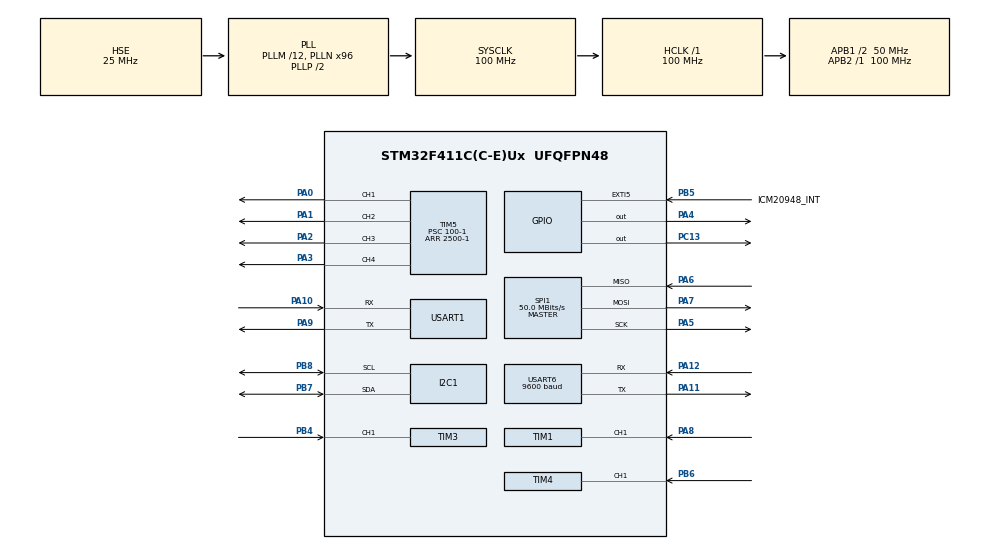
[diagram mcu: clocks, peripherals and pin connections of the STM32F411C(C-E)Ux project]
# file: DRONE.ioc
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Dma.I2C1_RX.0.Direction=DMA_PERIPH_TO_MEMORY
Dma.I2C1_RX.0.FIFOMode=DMA_FIFOMODE_DISABLE
Dma.I2C1_RX.0.Instance=DMA1_Stream0
Dma.I2C1_RX.0.MemDataAlignment=DMA_MDATAALIGN_BYTE
Dma.I2C1_RX.0.MemInc=DMA_MINC_ENABLE
Dma.I2C1_RX.0.Mode=DMA_NORMAL
Dma.I2C1_RX.0.PeriphDataAlignment=DMA_PDATAALIGN_BYTE
Dma.I2C1_RX.0.PeriphInc=DMA_PINC_DISABLE
Dma.I2C1_RX.0.Priority=DMA_PRIORITY_LOW
Dma.Request0=I2C1_RX
I2C1.I2C_Mode=I2C_Fast
Mcu.Family=STM32F4
Mcu.Name=STM32F411C(C-E)Ux
Mcu.Package=UFQFPN48
NVIC.DMA1_Stream0_IRQn=true\:0\:0\:false\:false\:true\:false\:true\:true
NVIC.EXTI9_5_IRQn=true\:0\:0\:false\:false\:true\:true\:true\:true
NVIC.I2C1_ER_IRQn=true\:0\:0\:false\:false\:true\:true\:true\:true
NVIC.I2C1_EV_IRQn=true\:0\:0\:false\:false\:true\:true\:true\:true
NVIC.PriorityGroup=NVIC_PRIORITYGROUP_4
NVIC.TIM1_BRK_TIM9_IRQn=true\:0\:0\:false\:false\:true\:true\:true\:true
NVIC.TIM1_CC_IRQn=true\:0\:0\:false\:false\:true\:true\:true\:true
NVIC.TIM2_IRQn=true\:0\:0\:false\:false\:true\:true\:true\:true
NVIC.TIM3_IRQn=true\:0\:0\:false\:false\:true\:true\:true\:true
NVIC.TIM4_IRQn=true\:0\:0\:false\:false\:true\:true\:true\:true
NVIC.TIM5_IRQn=true\:0\:0\:false\:false\:true\:true\:true\:true
NVIC.USART1_IRQn=true\:0\:0\:false\:false\:true\:true\:true\:true
NVIC.USART6_IRQn=true\:0\:0\:false\:false\:true\:true\:true\:true
PA0-WKUP.Signal=S_TIM5_CH1
PA1.Signal=S_TIM5_CH2
PA10.Mode=Asynchronous
PA10.Signal=USART1_RX
PA11.Mode=Asynchronous
PA11.Signal=USART6_TX
PA12.Mode=Asynchronous
PA12.Signal=USART6_RX
PA13.Mode=Serial_Wire
PA13.Signal=SYS_JTMS-SWDIO
PA14.Mode=Serial_Wire
PA14.Signal=SYS_JTCK-SWCLK
PA2.Signal=S_TIM5_CH3
PA3.Signal=S_TIM5_CH4
PA4.Signal=GPIO_Output
PA5.Mode=Full_Duplex_Master
PA5.Signal=SPI1_SCK
PA6.Mode=Full_Duplex_Master
PA6.Signal=SPI1_MISO
PA7.Mode=Full_Duplex_Master
PA7.Signal=SPI1_MOSI
PA8.Signal=S_TIM1_CH1
PA9.Mode=Asynchronous
PA9.Signal=USART1_TX
PB4.Signal=S_TIM3_CH1
PB5.GPIO_Label=ICM20948_INT
PB5.GPIO_ModeDefaultEXTI=GPIO_MODE_IT_RISING
PB5.GPIO_PuPd=GPIO_PULLDOWN
PB5.Signal=GPXTI5
PB6.Signal=S_TIM4_CH1
PB7.Mode=I2C
PB7.Signal=I2C1_SDA
PB8.Mode=I2C
PB8.Signal=I2C1_SCL
PC13-ANTI_TAMP.Signal=GPIO_Output
PC14-OSC32_IN.Mode=LSE-External-Oscillator
PC14-OSC32_IN.Signal=RCC_OSC32_IN
PC15-OSC32_OUT.Mode=LSE-External-Oscillator
PC15-OSC32_OUT.Signal=RCC_OSC32_OUT
PH0\ -\ OSC_IN.Mode=HSE-External-Oscillator
PH0\ -\ OSC_IN.Signal=RCC_OSC_IN
PH1\ -\ OSC_OUT.Mode=HSE-External-Oscillator
PH1\ -\ OSC_OUT.Signal=RCC_OSC_OUT
ProjectManager.HeapSize=0x200
ProjectManager.StackSize=0x400
ProjectManager.TargetToolchain=STM32CubeIDE
RCC.48MHZClocksFreq_Value=50000000
RCC.AHBFreq_Value=100000000
RCC.APB1CLKDivider=RCC_HCLK_DIV2
RCC.APB1Freq_Value=50000000
RCC.APB1TimFreq_Value=100000000
RCC.APB2Freq_Value=100000000
RCC.APB2TimFreq_Value=100000000
RCC.CortexFreq_Value=100000000
RCC.HCLKFreq_Value=100000000
RCC.HSE_VALUE=25000000
RCC.HSI_VALUE=16000000
RCC.PLLM=12
RCC.PLLN=96
RCC.PLLSourceVirtual=RCC_PLLSOURCE_HSE
RCC.SYSCLKFreq_VALUE=100000000
RCC.SYSCLKSource=RCC_SYSCLKSOURCE_PLLCLK
RCC.VCOOutputFreq_Value=200000000
SH.S_TIM1_CH1.0=TIM1_CH1,PWM_Input_1
SH.S_TIM3_CH1.0=TIM3_CH1,PWM_Input_1
SH.S_TIM4_CH1.0=TIM4_CH1,PWM_Input_1
SH.S_TIM5_CH1.0=TIM5_CH1,PWM Generation1 CH1
SH.S_TIM5_CH2.0=TIM5_CH2,PWM Generation2 CH2
SH.S_TIM5_CH3.0=TIM5_CH3,PWM Generation3 CH3
SH.S_TIM5_CH4.0=TIM5_CH4,PWM Generation4 CH4
SPI1.BaudRatePrescaler=SPI_BAUDRATEPRESCALER_2
SPI1.CalculateBaudRate=50.0 MBits/s
SPI1.Direction=SPI_DIRECTION_2LINES
SPI1.Mode=SPI_MODE_MASTER
SPI1.VirtualType=VM_MASTER
TIM1.Period=19999
TIM1.Prescaler=99
TIM2.Period=4294967295
TIM2.Prescaler=99
TIM3.Period=19999
TIM3.Prescaler=99
TIM4.Period=19999
TIM4.Prescaler=99
TIM5.Channel-PWM\ Generation1\ CH1=TIM_CHANNEL_1
TIM5.Channel-PWM\ Generation2\ CH2=TIM_CHANNEL_2
TIM5.Channel-PWM\ Generation3\ CH3=TIM_CHANNEL_3
TIM5.Channel-PWM\ Generation4\ CH4=TIM_CHANNEL_4
TIM5.Period=2500-1
TIM5.Prescaler=100-1
TIM9.Period=1250-1
TIM9.Prescaler=100-1
USART1.VirtualMode=VM_ASYNC
USART6.BaudRate=9600
USART6.VirtualMode=VM_ASYNC
VP_TIM1_VS_ClockSourceINT.Mode=Internal
VP_TIM2_VS_ClockSourceINT.Mode=Internal
VP_TIM3_VS_ClockSourceINT.Mode=Internal
VP_TIM4_VS_ClockSourceINT.Mode=Internal
VP_TIM5_VS_ClockSourceINT.Mode=Internal
VP_TIM9_VS_ClockSourceINT.Mode=Internal
board=custom

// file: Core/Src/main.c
/* USER CODE BEGIN Header */
/**
  ******************************************************************************
  * @file           : main.c
  * @brief          : Main program body
  ******************************************************************************
  * @attention
  *
  * Copyright (c) 2026 STMicroelectronics.
  * All rights reserved.
  *
  * This software is licensed under terms that can be found in the LICENSE file
  * in the root directory of this software component.
  * If no LICENSE file comes with this software, it is provided AS-IS.
  *
  ******************************************************************************
  */
/* USER CODE END Header */
#include "main.h"
#include "dma.h"
#include "i2c.h"
#include "spi.h"
#include "tim.h"
#include "usart.h"
#include "gpio.h"

/* USER CODE BEGIN Includes */
#include "MS5611_SPI.h"
#include "ICM20948_I2C.h"
#include "RC.h"
#include "Ringbuffer.h"
#include "HC05.h"
#include "PIDControl.h"
#include "Filters.h"
#include "MTF01P.h"
/* USER CODE END Includes */

/* USER CODE BEGIN PV */
uint16_t CHANNEL[4];
float GYRO_NOTCH[3];
float GYRO_LPF[3];
float ACC_NOTCH[3];
float ACC_LPF[3];
enum XYZ
{
	X,
	Y,
	Z,
};
//- Variables for pitch, roll, yaw
ICM20948_ACCEL_DATA acc;
ICM20948_GYRO_DATA gyro;
AK09916_DATA mag = { 0 };
ICM20948_FILTER imu;
uint8_t ICM20948_status = 0;
LowPassFilter gyro_LPF[3];
LowPassFilter acc_LPF[3];
LowPassFilter mag_LPF;
BiquadFilter mag_NOTCH;
BiquadFilter gyro_NOTCH[3];
MagdwitchFilter MF = {
		.beta_default = 0.05,
		.q[0] = 1,
		.q[1] = 0,
		.q[2] = 0,
		.q[3] = 0,
};
float f_ICM20948;
float overhead;
volatile uint8_t DATA_ICM20948_READY = 0;
float temp_yaw;
uint32_t ICM20948_Count = 0;
uint32_t ICM20948_dt = 0;
uint32_t ICM20948_Start = 0;
uint32_t ICM20948_PreCount = 0;
int16_t stick;
//- Variables for thrust
uint8_t MS5611_status = 0;
uint8_t MS5611_flag = 0;
uint32_t MS5611_count = 0;
uint32_t KF_Start = 0;
uint32_t Pre_KF_Start = 0;
uint32_t PRES_time;
uint32_t PRES_timepre;
float dt_PRES;
uint32_t TEMP_time;
uint32_t TEMP_timepre;
float dt_TEMP;
float dt_KF = 0;
float f_KF = 0;
MS5611_SPI MS5611;
MS5611_State_t State = MS5611_IDLE;
uint16_t pres_reference;
uint16_t pres_ground;
ring_buffer HC05_data;
uint8_t count = 0;
uint8_t SendHeight = 0;
char temp_hc05[64];
uint32_t StartTick = 0, EndTick = 0, StartTick_MS = 0, EndTick_MS = 0;
float dt_ICM20948 = 0, dt_MS5611 = 0;
float f_MS5611;
float sample[1000];
//- Variables for XYZ
float mean;
float variance, sigma;
ComplementaryFilterH CFH = {
		.ow = 0.010,
		.ov = 0.30,
		.a = 0,
		.v = 0,
		.x = 0,
		.dt = 0.018
};
KalmanFilter KF = {
		.Q_positionSe = 0.001,
		.Q_velocitySe = 0.0001,
		.Rbar = 0.06,
		.RoptP = 0.00003,
		.RoptV = 0.000005
};
uint8_t temp_TMF01P;
uint32_t MFcount = 0;
uint32_t KFcount = 0;
uint8_t ENABLE_FLY = 0;
uint32_t HC05_Start = 0;
uint32_t MTF01P_current_time;
uint32_t MTF01P_previous_time;
uint16_t MTF01P_dt_desired = 10000;
float dt_MTF01P;
float f_MTF01P;
//-Safe
uint8_t Safety_flag = 0;
uint16_t PWM1, PWM2, PWM3, PWM4;
uint8_t SetYaw_flag = 0;
float yaw_reference;
float thrust_value;

uint8_t TurnOnHeight= 0;
// -PID various
uint32_t current_time_pid_pos;
uint32_t previous_time_pid_pos;
uint32_t current_time_pid_vel;
uint32_t previous_time_pid_vel;
uint32_t current_time_pid_yaw;
uint32_t previous_time_pid_yaw;
uint32_t current_time_pid_angle;
uint32_t previous_time_pid_angle;
uint32_t current_time_pid_rate;
uint32_t previous_time_pid_rate;
uint32_t current_time_pid_yaw_rate;
uint32_t previous_time_pid_yaw_rate;
uint32_t current_time_pid_height;
uint32_t previous_time_pid_height;
uint32_t current_time_pid_velH;
uint32_t previous_time_pid_velH;
uint32_t catch_yaw;
uint32_t catch_angle;
uint32_t catch_rate;
float dt_pid_yaw;
float dt_pid_yaw_rate;
float dt_pid_pos;
float dt_pid_vel;
float dt_pid_angle;
float dt_pid_rate;
float dt_pid_height;
float dt_pid_velH;
float f_pid_yaw;
float f_pid_yaw_rate;
float f_pid_pos;
float f_pid_vel;
float f_pid_angle;
float f_pid_rate;
float f_pid_height;
float f_pid_velH;
uint32_t dt_pid_pos_desire = 100000;
uint16_t dt_pid_vel_desire = 50000;
uint16_t dt_pid_yaw_angle_desire = 10000; // us
uint16_t dt_pid_yaw_rate_desire = 5000;
uint16_t dt_pid_angle_desire = 5000; // us
uint16_t dt_pid_rate_desire = 2500; // us
uint32_t dt_pid_height_desire = 100000; // us
uint16_t dt_pid_velH_desire = 20000; // us
float PID_velocity_setpoint[4];
float PID_angle_setpoint[4];
float PID_rate_setpoint[4];
float height_setpoint;
float pid_velH_setpoint;
PIDsingle PitchRate = {
		.par.kp = 1.1,
		.par.ki = 1.0,
		.par.kd = 0.0035,
};
PIDsingle RollRate = {
		.par.kp = 1.1,
		.par.ki = 1.0,
		.par.kd = 0.0035,
};
PIDsingle YawRate = {
		.par.kp = 1.1,
		.par.ki = 0.3,
		.par.kd = 0.0025,
};
PIDsingle PitchAngle = {
		.par.kp = 1.35,
		.par.ki = 0.0,
		.par.kd = 0.001,
};
PIDsingle RollAngle = {
		.par.kp = 1.35,
		.par.ki = 0.0,
		.par.kd = 0.001,
};
PIDsingle YawAngle = {
		.par.kp = 1.35,
		.par.ki = 0.0,
		.par.kd = 0.0,
};
PIDsingle Height = {
		.par.kp = 2.5,
		.par.ki = 0.0,
		.par.kd = 0.0,
};
PIDsingle VelH = {
		.par.kp = 40.0,
		.par.ki = 0.5,
		.par.kd = 2.0,
};
PIDsingle Position;
PIDsingle Velocitydx = {
		.par.kp = 8.0,
		.par.ki = 0.75,
		.par.kd = 1.0,
};
PIDsingle Velocitydy = {
		.par.kp = 8.0,
		.par.ki = 0.75,
		.par.kd = 1.0,
};
uint8_t missout = 0;
//-
char last;
/* USER CODE END PV */

void SystemClock_Config(void);
/* USER CODE BEGIN PFP */
void Filter_init(void);
void ICM20948_IMU_init(void);
void MS5611_BAR_init(void);
void PID_init(void);
void HC05_PROCESS(void);
void MTF01P_PROCESS(void);
void MTF01P_s(void);
void ICM20948_IMU(void);
void ICM20948_s(void);
void MS5611_BAR(void);
void MS5611_s(void);
void PID_YAW_PROCESS(void);
void PID_POSITION_PROCESS(void);
void PID_VELOCITY_PROCESS(void);
void PID_ANGLE_PROCESS(void);
void PID_RATE_PROCESS(void);
void PID_HEIGHT_PROCESS(void);
void PID_VELH_PROCESS(void);
void PID_CONTROLLER(void);
void MOTOR_CONTROLLER(void);
/* USER CODE END PFP */

int main(void)
{

  /* MCU Configuration--------------------------------------------------------*/

  /* Reset of all peripherals, Initializes the Flash interface and the Systick. */
  HAL_Init();

  /* Configure the system clock */
  SystemClock_Config();

  /* Initialize all configured peripherals */
  MX_GPIO_Init();
  MX_DMA_Init();
  MX_I2C1_Init();
  MX_TIM1_Init();
  MX_TIM2_Init();
  MX_TIM3_Init();
  MX_TIM4_Init();
  MX_TIM5_Init();
  MX_USART1_UART_Init();
  MX_SPI1_Init();
  MX_USART6_UART_Init();
  MX_TIM9_Init();
  /* USER CODE BEGIN 2 */
  __enable_irq();
  HAL_TIM_Base_Start(&htim2);
  HAL_TIM_IC_Start_IT(&htim1, TIM_CHANNEL_1);
  HAL_TIM_IC_Start_IT(&htim1, TIM_CHANNEL_2);
  HAL_TIM_IC_Start_IT(&htim3, TIM_CHANNEL_1);
  HAL_TIM_IC_Start_IT(&htim3, TIM_CHANNEL_2);
  HAL_TIM_IC_Start_IT(&htim4, TIM_CHANNEL_1);
  HAL_TIM_IC_Start_IT(&htim4, TIM_CHANNEL_2);

  HAL_TIM_PWM_Start(&htim5, TIM_CHANNEL_1);
  HAL_TIM_PWM_Start(&htim5, TIM_CHANNEL_2);
  HAL_TIM_PWM_Start(&htim5, TIM_CHANNEL_3);
  HAL_TIM_PWM_Start(&htim5, TIM_CHANNEL_4);
  HAL_GPIO_WritePin(LED_GPIO_Port, LED_Pin, GPIO_PIN_SET);
  HAL_Delay(500);
//- Initialize Filters
  Filter_init();
//- Initialize RingBuffer
  RINGBUF_INIT(&HC05, &huart6);
  RINGBUF_INIT(&MTF01P, &huart1);
//- Initialize MS5611
  MS5611_BAR_init();
//- Initialize ICM-20948
  ICM20948_IMU_init();
//- Initialize PID
  PID_init();
  /* USER CODE END 2 */

  /* Infinite loop */
  while (1)
  {

    /* USER CODE BEGIN 3 */
	  HC05_PROCESS();
	  MTF01P_PROCESS();
	  //MTF01P_s();
	  //ak09916_calibrate(&hi2c1, &mag);
//- Receive and calculate data from MS5611 barometric pressure sensor
	  MS5611_BAR();
	  //MS5611_s();
//- Receive and calculate data from ICM-20948 9-Axits IMU
	  ICM20948_IMU();
	  //ICM20948_s();
//- Control motors via PID controller
	  PID_CONTROLLER();
	  MOTOR_CONTROLLER();
  }
  /* USER CODE END 3 */
}

void SystemClock_Config(void)
{
  RCC_OscInitTypeDef RCC_OscInitStruct = {0};
  RCC_ClkInitTypeDef RCC_ClkInitStruct = {0};

  /** Configure the main internal regulator output voltage
  */
  __HAL_RCC_PWR_CLK_ENABLE();
  __HAL_PWR_VOLTAGESCALING_CONFIG(PWR_REGULATOR_VOLTAGE_SCALE1);

  /** Initializes the RCC Oscillators according to the specified parameters
  * in the RCC_OscInitTypeDef structure.
  */
  RCC_OscInitStruct.OscillatorType = RCC_OSCILLATORTYPE_HSE;
  RCC_OscInitStruct.HSEState = RCC_HSE_ON;
  RCC_OscInitStruct.PLL.PLLState = RCC_PLL_ON;
  RCC_OscInitStruct.PLL.PLLSource = RCC_PLLSOURCE_HSE;
  RCC_OscInitStruct.PLL.PLLM = 12;
  RCC_OscInitStruct.PLL.PLLN = 96;
  RCC_OscInitStruct.PLL.PLLP = RCC_PLLP_DIV2;
  RCC_OscInitStruct.PLL.PLLQ = 4;
  if (HAL_RCC_OscConfig(&RCC_OscInitStruct) != HAL_OK)
  {
    Error_Handler();
  }

  /** Initializes the CPU, AHB and APB buses clocks
  */
  RCC_ClkInitStruct.ClockType = RCC_CLOCKTYPE_HCLK|RCC_CLOCKTYPE_SYSCLK
                              |RCC_CLOCKTYPE_PCLK1|RCC_CLOCKTYPE_PCLK2;
  RCC_ClkInitStruct.SYSCLKSource = RCC_SYSCLKSOURCE_PLLCLK;
  RCC_ClkInitStruct.AHBCLKDivider = RCC_SYSCLK_DIV1;
  RCC_ClkInitStruct.APB1CLKDivider = RCC_HCLK_DIV2;
  RCC_ClkInitStruct.APB2CLKDivider = RCC_HCLK_DIV1;

  if (HAL_RCC_ClockConfig(&RCC_ClkInitStruct, FLASH_LATENCY_3) != HAL_OK)
  {
    Error_Handler();
  }
}

/* USER CODE BEGIN 4 */

void HAL_TIM_IC_CaptureCallback(TIM_HandleTypeDef *htim)
{
	RC_CAPTURE_PWM(htim, CHANNEL);
}
void HAL_GPIO_EXTI_Callback(uint16_t GPIO_Pin)
{
	if (GPIO_Pin == ICM20948_INT_Pin)
	{
		DATA_ICM20948_READY = 1;
		ICM20948_Count++;
	}
}
void MS5611_BAR_init(void)
{
	if (MS5611_SPI_Init(&hspi1, &MS5611) == OK)
	MS5611_status = 1;
	else
	{
		while (1)
		{
			HAL_GPIO_TogglePin(LED_GPIO_Port, LED_Pin);
			HAL_Delay(1000);
		}
	}
}
void ICM20948_IMU_init(void)
{

	if (ICM20948_I2C_Init(&hi2c1) == HAL_OK)
	{
		ICM20948_calirate_accel_gyro(&hi2c1, &gyro, &acc);
		mag.xOffset = 73;
		mag.yOffset = 205;
		mag.zOffset = 116.5;

		mag.xScale = 0.00388349523;
		mag.yScale = 0.00392156886;
		mag.zScale = 0.00858369097;
		ICM20948_status = 1;
	}
	if ((MS5611_status == 1)&&(ICM20948_status == 1)) HAL_GPIO_TogglePin(LED_GPIO_Port, LED_Pin);
	else
	  {
		  	  while (1)
	  		{
	  			HAL_GPIO_TogglePin(LED_GPIO_Port, LED_Pin);
	  			HAL_Delay(1000);
	  		}
	  }
}
void Filter_init(void)
{
	LowpassFilterInit(&PitchAngle.LPF_Kd, 100, 0.00264599989);
	LowpassFilterInit(&RollRate.LPF_Kd, 100, 0.00264599989);
	LowpassFilterInit(&YawRate.LPF_Kd, 100, 0.00501499977);

	for (int i = 0; i <3; i++)
	{
		BiquadFilterNotchInit(&gyro_NOTCH[i], 150, 50, 887.8);
		LowpassFilterInit(&gyro_LPF[i], 100, 0.0008878);
		LowpassFilterInit(&acc_LPF[i], 100, 0.0008878);
		LowpassFilterInit(&mag_LPF, 10, 0.0008878);
	}
}
void PID_init(void)
{
	PID_Init(&PitchRate);
	PID_Init(&RollRate);
	PID_Init(&YawRate);
	PID_Init(&RollAngle);
	PID_Init(&PitchAngle);
	PID_Init(&YawAngle);
	PID_Init(&Height);
	PID_Init(&VelH);
	PID_Init(&Position);
	PID_Init(&Velocitydx);
	PID_Init(&Velocitydy);
}
void HC05_PROCESS(void)
{
		  if (int_uart6_flag == 1)
		  {
			  int_uart6_flag = 0;
			  int idx = 0;
			  while (AVAILABLEDATA(&HC05) > 0)
			  {
				  temp_hc05[idx++] = UART_READ(&HC05);
			  }
			  char *rx_buffer_hc05 = temp_hc05;
			  while ((*rx_buffer_hc05 == '\r') || (*rx_buffer_hc05 == '\n'))
				  rx_buffer_hc05++;
	//
	//		  last = rx_buffer_hc05[idx-2];
	//		  if (last == 'I'  || last == 'O' || last == 'K')
			  HC05_PID_SETTINGS(&huart6, rx_buffer_hc05, &HC05.rx_byte, idx, &PitchAngle, &RollAngle, &YawAngle, &PitchRate, &RollRate, &YawRate, &Height, &VelH);
			  PitchRate.par.kp = RollRate.par.kp;
			  PitchRate.par.ki = RollRate.par.ki;
			  PitchRate.par.kd = RollRate.par.kd;
			  RollRate.par.kp = PitchRate.par.kp;
			  RollRate.par.ki = PitchRate.par.ki;
			  RollRate.par.kd = PitchRate.par.kd;

			  PitchAngle.par.kp = RollAngle.par.kp;
			  PitchAngle.par.ki = RollAngle.par.ki;
			  PitchAngle.par.kd = RollAngle.par.kd;
			  RollAngle.par.kp = PitchAngle.par.kp;
			  RollAngle.par.ki = PitchAngle.par.ki;
			  RollAngle.par.kd = PitchAngle.par.kd;
		  }
		  if (SendHeight)
		  {
			  if (TIM2->CNT - HC05_Start >= 500000)
			  {
				HC05_Start = TIM2->CNT;
				char msg[50];
				sprintf(msg, "HeightSP = %.2f\r\n HeightRV = %.2f\r\n", Height.reference, Height.measure_value);
				const char *msg1 = msg;
				while (*msg1)
				{
					UART_WRITE(&HC05, (int)(*msg1++));
				}
			  }
		  }
}
void MTF01P_PROCESS(void)
{
	if (TIM2->CNT - MTF01P_current_time >= MTF01P_dt_desired)
	{
		MTF01P_previous_time = MTF01P_current_time;
		MTF01P_current_time = TIM2->CNT;
		dt_MTF01P = (MTF01P_current_time - MTF01P_previous_time)*0.000001;
		f_MTF01P = 1 / dt_MTF01P;

		while (AVAILABLEDATA(&MTF01P) > 0)
		{
		temp_TMF01P = (uint8_t)UART_READ(&MTF01P);
		micolink_decode(temp_TMF01P);
		}
	}
}
void ICM20948_IMU(void)
{

	if (TIM2->CNT - ICM20948_Start >= 1000000)
	{
		ICM20948_Start = TIM2->CNT;
		if (ICM20948_Count - ICM20948_PreCount < 1000)
		{
			HAL_GPIO_WritePin(LED_GPIO_Port, LED_Pin,  GPIO_PIN_RESET);
		}
		ICM20948_PreCount = ICM20948_Count;
	}
	if (DATA_ICM20948_READY)
	{
		DATA_ICM20948_READY = 0;
		//dma_done = 0;
		ICM20948_READ_ACCEL_GYRO_MAG_DMA(&hi2c1, &acc, &gyro, &mag);
		temp_yaw = atan2(-mag.MAG_DATA[1], mag.MAG_DATA[0])*57.29577951;
//		ak09916_calibrate(&hi2c1, &mag);
//		if (temp_yaw < 0) temp_yaw += 360;
	}
	if (data_ready)
	{
		data_ready = 0;
		EndTick = StartTick;
		StartTick = TIM2->CNT;
		dt_ICM20948 = (float)(StartTick - EndTick) * 0.000001f;
		imu.yaw = LowpassFilterProcess(&mag_LPF, temp_yaw);
		for (int i = 0; i < 3; i++)
		{
			GYRO_NOTCH[i] = BiquadFilterProcessTDF2(&gyro_NOTCH[i], gyro.GYRO_DATA[i]);
			imu.gyro_filter[i] = LowpassFilterProcess(&gyro_LPF[i], GYRO_NOTCH[i]);
			imu.acc_filter[i] = LowpassFilterProcess(&acc_LPF[i], acc.ACC_DATA[i]);
		}

		MadgwickFilter_Update(&MF, &imu, &mag, dt_ICM20948);
		//MadgwickFilter(&MF, &imu, dt_ICM20948);
		if(MFcount > 9000 && SetYaw_flag == 2)
				{
					KalmanFilterProcess(&KF, &imu, &MS5611, &payload, dt_ICM20948, MS5611_flag, MTF01P_flag);
					MS5611_flag = 0;
					if (KFcount <= 4500 && (KFcount % 125 == 0))
						HAL_GPIO_TogglePin(LED_GPIO_Port, LED_Pin);
					else if (KFcount > 4500 && abs(KF.velocity[2]) < 0.1 && abs(KF.position[2]) < 0.1)
						ENABLE_FLY = 1;
				}
		else if (MFcount <= 9000 && (MFcount % 72 == 0))
					HAL_GPIO_TogglePin(LED_GPIO_Port, LED_Pin);
		f_ICM20948 = 1 / dt_ICM20948;
	}

}
void MS5611_BAR(void)
{
//	HAL_Delay(MS5611_SPI_TRIGGER_TEMP(&hspi1, TEMP_OSR_4096));
//	MS5611_SPI_READ_TEMP(&hspi1, &MS5611);
//	HAL_Delay(MS5611_SPI_TRIGGER_PRES(&hspi1, PRES_OSR_4096));
//	MS5611_SPI_READ_PRES(&hspi1, &MS5611);
//
//	MS5611_SPI_CALCULATE(&MS5611);
	static uint32_t now = 0;
	static uint32_t wait_time = 0;

	switch (State)
	{
	case (MS5611_IDLE):
		count++;
		if (count >= 5)
		{
			count = 0;
			State = MS5611_TRIGGER_TEMP;
		}
		break;
	case (MS5611_TRIGGER_TEMP):
		wait_time = MS5611_SPI_TRIGGER_TEMP(&hspi1, TEMP_OSR_4096)*1000+500;
		now = TIM2->CNT;
		State = MS5611_READ_TEMP;
		break;
	case (MS5611_READ_TEMP):
		if ((TIM2->CNT - now) >= wait_time)
		{
			TEMP_timepre = TEMP_time;
			TEMP_time = TIM2->CNT;

			dt_TEMP = (TEMP_time - TEMP_timepre)*0.000001;
			MS5611_SPI_READ_TEMP(&hspi1, &MS5611);
			State = MS5611_TRIGGER_PRES;
		}
		break;
	case (MS5611_TRIGGER_PRES):
		wait_time = MS5611_SPI_TRIGGER_PRES(&hspi1, PRES_OSR_4096)*1000+500;
		now = TIM2->CNT;
		State = MS5611_READ_PRES;
		break;
	case (MS5611_READ_PRES):
		if ((TIM2->CNT - now) >= wait_time)
		{
			PRES_timepre = PRES_time;
			PRES_time = TIM2->CNT;

			dt_PRES = (PRES_time - PRES_timepre)*0.000001;
			MS5611_SPI_READ_PRES(&hspi1, &MS5611);
			State = MS5611_READ_PRES_CALCULATE;
		}
	break;
	case (MS5611_READ_PRES_CALCULATE):
			MS5611_SPI_CALCULATE(&MS5611);
			MS5611.Height = (float) 44330 * (1 - pow((float)MS5611.P/101352,0.19));
			if (MS5611.Ground == 0 && MS5611_count > 50)
				MS5611.Ground = MS5611.Height;
			if (ENABLE_FLY == 0 && MS5611.Ground != 0)
			    MS5611.Ground = MS5611.Height;
			else if (ENABLE_FLY == 1 && fabsf(KF.velocity[2]) < 0.1f && fabsf(MS5611.Distance) > 0.1f && CHANNEL[THRUST] == 1000)
			    MS5611.Ground = MS5611.Ground * 0.9f + MS5611.Height * 0.1f;
			MS5611.Distance = MS5611.Height - MS5611.Ground;
			MS5611_flag = 1;
			MS5611_count++;
			EndTick_MS = StartTick_MS;
			StartTick_MS = TIM2->CNT;
			dt_MS5611 = (float) (StartTick_MS - EndTick_MS) * 0.000001f;
			f_MS5611 = 1 / dt_MS5611;

			State = MS5611_IDLE;
			break;
	}
}
void PID_CONTROLLER(void)
{
//- Set yaw reference for YAWPID
	while (SetYaw_flag < 2)
	{

		ICM20948_IMU();

		if (CHANNEL[ROLL] == 1000 && CHANNEL[THRUST] == 1000)
			SetYaw_flag = 1;
		if (SetYaw_flag)
		{
			if (dma_done)
				yaw_reference = imu.angle_deg[2];
			if (CHANNEL[ROLL] == 2000 && MFcount > 9000)
			{
				HAL_GPIO_WritePin(LED_GPIO_Port, LED_Pin, GPIO_PIN_RESET);
				SetYaw_flag = 2;
			}
		}
	}

//- If kp haven't set yet, it automatically change to RATE control
	if (PitchAngle.par.kp == 0 && RollAngle.par.kp == 0 && Height.par.kp == 0 && Position.par.kp == 0)
	// RATE PID
	{
		if (CHANNEL[THRUST] == 1000)
		{
			PID_Reset(&YawRate);
			PID_Reset(&PitchRate);
			PID_Reset(&RollRate);
			if (CHANNEL[PITCH] == 1000)
				yaw_reference = imu.angle_deg[2];
		}
		else
		{
			PID_rate_setpoint[PITCH] = -(CHANNEL[PITCH]-1500)*0.1;
			PID_rate_setpoint[ROLL] = (CHANNEL[ROLL]-1500)*0.1;
			PID_rate_setpoint[YAW] = 0;
			PID_RATE_PROCESS();
		}
	}
	// ANGLE PID
	else if (Height.par.kp == 0 && Velocitydx.par.kp == 0 && Velocitydy.par.kp == 0)
	{
		if (CHANNEL[THRUST] == 1000)
		{
			PID_Reset(&YawAngle);
			PID_Reset(&PitchAngle);
			PID_Reset(&RollAngle);
			PID_Reset(&YawRate);
			PID_Reset(&PitchRate);
			PID_Reset(&RollRate);
			if (CHANNEL[PITCH] == 1000)
				yaw_reference = imu.angle_deg[2];
		}
		else
		{
			PID_YAW_PROCESS();
			PID_ANGLE_PROCESS();
			PID_RATE_PROCESS();
			//pid_velH_PROCESS();
		}
	}
	else
	{
		if (CHANNEL[THRUST] == 1000)
		{
			PID_Reset(&Position);
			PID_Reset(&Velocitydx);
			PID_Reset(&Velocitydy);
			PID_Reset(&YawAngle);
			PID_Reset(&PitchAngle);
			PID_Reset(&RollAngle);
			PID_Reset(&YawRate);
			PID_Reset(&PitchRate);
			PID_Reset(&RollRate);
			PID_Reset(&Height);
			PID_Reset(&VelH);
			current_time_pid_pos	   = TIM2->CNT;
			previous_time_pid_pos	   = TIM2->CNT;
			current_time_pid_vel	   = TIM2->CNT;
			previous_time_pid_vel	   = TIM2->CNT;
			current_time_pid_rate      = TIM2->CNT;
			previous_time_pid_rate     = TIM2->CNT;
			current_time_pid_yaw_rate  = TIM2->CNT;
			previous_time_pid_yaw_rate = TIM2->CNT;
			current_time_pid_angle     = TIM2->CNT;
			previous_time_pid_angle    = TIM2->CNT;
			current_time_pid_yaw       = TIM2->CNT;
			previous_time_pid_yaw      = TIM2->CNT;
			current_time_pid_height   = TIM2->CNT;
			previous_time_pid_height  = TIM2->CNT;
			current_time_pid_velH = TIM2->CNT;
			previous_time_pid_velH= TIM2->CNT;
			if (CHANNEL[PITCH] == 1000)
				yaw_reference = imu.angle_deg[2];
			if (CHANNEL[PITCH] == 2000)
				MS5611.Ground = MS5611.Height;
			}
			else
			{
				//PID_POSITION_PROCESS();
				PID_VELOCITY_PROCESS();
				PID_YAW_PROCESS();
				PID_ANGLE_PROCESS();
				PID_RATE_PROCESS();
				PID_HEIGHT_PROCESS();
				PID_VELH_PROCESS();
			}
		}
}

void PID_POSITION_PROCESS(void)
{
	if((TIM2->CNT - current_time_pid_pos) >= dt_pid_pos_desire)
	{
		previous_time_pid_pos = current_time_pid_pos;
		current_time_pid_pos = TIM2->CNT;
		dt_pid_pos = (current_time_pid_pos - previous_time_pid_pos)*0.000001;
		f_pid_pos = 1/dt_pid_pos;
		//PID_velocity_setpoint[PITCH] = PID_Caculate(&Position, (CHANNEL[PITCH]-1500)*0.1, 0, dt_pid_pos, -50, 50, 0);
		//PID_velocity_setpoint[ROLL] = PID_Caculate(&Position, (CHANNEL[ROLL]-1500)*0.1, 0, dt_pid_pos, -50, 50, 0);

	}
}
void PID_VELOCITY_PROCESS(void)
{
	if((TIM2->CNT - current_time_pid_vel) >= dt_pid_vel_desire)
	{
		previous_time_pid_vel = current_time_pid_vel;
		current_time_pid_vel = TIM2->CNT;
		dt_pid_vel = (current_time_pid_vel - previous_time_pid_vel)*0.000001;
		f_pid_vel = 1/dt_pid_vel;
		PID_angle_setpoint[PITCH] = PID_Caculate(&Velocitydy, -(CHANNEL[PITCH]-1500)*0.01, KF.velocity[1], dt_pid_vel, -50, 50, 0);
		PID_angle_setpoint[ROLL] = PID_Caculate(&Velocitydx, (CHANNEL[ROLL]-1500)*0.01, KF.velocity[0], dt_pid_vel, -50, 50, 0);
	}
}
void PID_YAW_PROCESS(void)
{
	if((TIM2->CNT - current_time_pid_yaw) >= (dt_pid_yaw_angle_desire))
	{
		previous_time_pid_yaw = current_time_pid_yaw;
		current_time_pid_yaw = TIM2->CNT;
		dt_pid_yaw = (current_time_pid_yaw - previous_time_pid_yaw)*0.000001;
		f_pid_yaw = 1 / dt_pid_yaw;
		PID_rate_setpoint[YAW] = PID_Caculate(&YawAngle, yaw_reference, imu.angle_deg[2], dt_pid_yaw, -200, 200, 1);
	}
}
void PID_ANGLE_PROCESS(void)
{
	if((TIM2->CNT - current_time_pid_angle) >= (dt_pid_angle_desire))
	{
		previous_time_pid_angle = current_time_pid_angle;
		current_time_pid_angle = TIM2->CNT;
		dt_pid_angle = (current_time_pid_angle - previous_time_pid_angle)*0.000001;
		f_pid_angle = 1 / dt_pid_angle;
		if (Velocitydx.par.kp > 0 && Velocitydy.par.kp > 0 )
		{
			PID_rate_setpoint[PITCH] = PID_Caculate(&PitchAngle, PID_angle_setpoint[PITCH], imu.angle_deg[0], dt_pid_angle, -1000, 1000, 0);
			PID_rate_setpoint[ROLL] = PID_Caculate(&RollAngle, PID_angle_setpoint[ROLL], -imu.angle_deg[1], dt_pid_angle, -1000, 1000, 0);
		}
		else
		{
			PID_rate_setpoint[PITCH] = PID_Caculate(&PitchAngle, -(CHANNEL[PITCH]-1500)*0.1, imu.angle_deg[0], dt_pid_angle, -1000, 1000, 0);
			PID_rate_setpoint[ROLL] = PID_Caculate(&RollAngle, (CHANNEL[ROLL]-1500)*0.1, -imu.angle_deg[1], dt_pid_angle, -1000, 1000, 0);
		}
	}
}
void PID_RATE_PROCESS(void)
{
	if ((TIM2->CNT - current_time_pid_rate) >= dt_pid_rate_desire)
	{
		previous_time_pid_rate = current_time_pid_rate;
		current_time_pid_rate = TIM2->CNT;
		dt_pid_rate = (current_time_pid_rate - previous_time_pid_rate)*0.000001;
		f_pid_rate = 1 / dt_pid_rate;
		PID_Caculate(&PitchRate, PID_rate_setpoint[PITCH], imu.gyro_filter[0], dt_pid_rate, -1000, 1000, 0);
		PID_Caculate(&RollRate, PID_rate_setpoint[ROLL], -imu.gyro_filter[1], dt_pid_rate, -1000, 1000, 0);
	}
	if ((TIM2->CNT - current_time_pid_yaw_rate) >= dt_pid_yaw_rate_desire)
	{
		previous_time_pid_yaw_rate = current_time_pid_yaw_rate;
		current_time_pid_yaw_rate = TIM2->CNT;
		dt_pid_yaw_rate = (current_time_pid_yaw_rate - previous_time_pid_yaw_rate)*0.000001;
		f_pid_yaw_rate = 1 / dt_pid_yaw_rate;
		PID_Caculate(&YawRate, PID_rate_setpoint[YAW], - imu.gyro_filter[2], dt_pid_yaw_rate, -1000, 1000, 0);
	}
}
void PID_HEIGHT_PROCESS(void)
{
	stick = CHANNEL[THRUST] - 1500;
	if ((TIM2->CNT - current_time_pid_height) >= dt_pid_height_desire)
	{
		previous_time_pid_height = current_time_pid_height;
		current_time_pid_height = TIM2->CNT;
		dt_pid_height = (current_time_pid_height - previous_time_pid_height)*0.000001;
        if (dt_pid_height > 0.2f)  dt_pid_height = 0.2f;
        if (dt_pid_height < 0.0f)  dt_pid_height = 0.01f;
		f_pid_height = 1 / dt_pid_height;
		if (abs(stick)>50)
		{
			height_setpoint += (float)stick*0.001*dt_pid_height;
			height_setpoint = height_setpoint < 0.15 ? 0.15 : height_setpoint > 4.0 ? 4.0 : height_setpoint;
		}
		else
		{

		}
		pid_velH_setpoint = PID_Caculate(&Height, height_setpoint, KF.position[2], dt_pid_height, -3, 3, 0);
	}
}
void PID_VELH_PROCESS(void)
{
	if ((TIM2->CNT - current_time_pid_velH) >= dt_pid_velH_desire)
	{
		previous_time_pid_velH = current_time_pid_velH;
		current_time_pid_velH = TIM2->CNT;
		dt_pid_velH = (current_time_pid_velH - previous_time_pid_velH)*0.000001;
        if (dt_pid_velH > 0.1f)  dt_pid_velH = 0.1f;
        if (dt_pid_velH < 0.001f) dt_pid_velH = 0.02f;
		f_pid_velH = 1 / dt_pid_velH;
		PID_Caculate(&VelH, pid_velH_setpoint, KF.velocity[2], dt_pid_velH, -300, 300, 0);
	}
}
void MOTOR_CONTROLLER(void)
{
	if (ENABLE_FLY)
	{
		thrust_value = 0.0000038*CHANNEL[THRUST]*CHANNEL[THRUST]*CHANNEL[THRUST]-0.0171*CHANNEL[THRUST]*CHANNEL[THRUST]+25.7*CHANNEL[THRUST]-12400;
		//thrust_value = 0.0000038*(CHANNEL[THRUST]-1000)*(CHANNEL[THRUST]-1400)*(CHANNEL[THRUST]-2000)+CHANNEL[THRUST]-1000;
		PWM1 = 1000 + thrust_value + VelH.pid_result_constrain - RollRate.pid_result_constrain + PitchRate.pid_result_constrain - YawRate.pid_result_constrain;
		PWM2 = 1000 + thrust_value + VelH.pid_result_constrain + RollRate.pid_result_constrain + PitchRate.pid_result_constrain + YawRate.pid_result_constrain;
		PWM3 = 1000 + thrust_value + VelH.pid_result_constrain + RollRate.pid_result_constrain - PitchRate.pid_result_constrain - YawRate.pid_result_constrain;
		PWM4 = 1000 + thrust_value + VelH.pid_result_constrain - RollRate.pid_result_constrain - PitchRate.pid_result_constrain + YawRate.pid_result_constrain;

		PWM1 = PWM1 < 1000 ? 1000 : PWM1 > 2000 ? 2000 : PWM1;
		PWM2 = PWM2 < 1000 ? 1000 : PWM2 > 2000 ? 2000 : PWM2;
		PWM3 = PWM3 < 1000 ? 1000 : PWM3 > 2000 ? 2000 : PWM3;
		PWM4 = PWM4 < 1000 ? 1000 : PWM4 > 2000 ? 2000 : PWM4;

		if (CHANNEL[THRUST] >= 1010)
		{
			__HAL_TIM_SET_COMPARE(&htim5, TIM_CHANNEL_1, PWM1);
			__HAL_TIM_SET_COMPARE(&htim5, TIM_CHANNEL_2, PWM2);
			__HAL_TIM_SET_COMPARE(&htim5, TIM_CHANNEL_3, PWM3);
			__HAL_TIM_SET_COMPARE(&htim5, TIM_CHANNEL_4, PWM4);
		}
		else
		{
			__HAL_TIM_SET_COMPARE(&htim5, TIM_CHANNEL_1, 1000);
			__HAL_TIM_SET_COMPARE(&htim5, TIM_CHANNEL_2, 1000);
			__HAL_TIM_SET_COMPARE(&htim5, TIM_CHANNEL_3, 1000);
			__HAL_TIM_SET_COMPARE(&htim5, TIM_CHANNEL_4, 1000);
		}
	}
}
void MS5611_s(void)
{
	for (int i = 0; i < 1000; i++)
	{
		MS5611_BAR();
		sample[i] = MS5611.Height;
		mean += sample[i];
	}
	mean /= 1000;
	for (int i = 0; i < 1000; i++)
	{
		variance = (MS5611.Height - mean) * (MS5611.Height - mean);
		sigma = sqrt(variance);
	}
}
void ICM20948_s(void)
{
	for (int i = 0; i < 1000; i++)
	{
		ICM20948_IMU();
		sample[i] = imu.acc_filter_linear[2];
		mean += sample[i];
	}
	mean /= 1000;
	for (int i = 0; i < 1000; i++)
	{
		variance = (imu.acc_filter_linear[2] - mean) * (imu.acc_filter_linear[2] - mean);
		sigma = sqrt(variance);
	}
}
void MTF01P_s(void)
{
	for (int i = 0; i < 1000; i++)
	{
		MS5611_BAR();
		sample[i] = payload.flow_vel_x;
		mean += sample[i];
	}
	mean /= 1000;
	for (int i = 0; i < 1000; i++)
	{
		variance = (payload.flow_vel_x - mean) * (payload.flow_vel_x - mean);
	}
	sigma = variance / 1000;
}
/* USER CODE END 4 */

void Error_Handler(void)
{
  __disable_irq();
  while (1)
  {
  }
}
